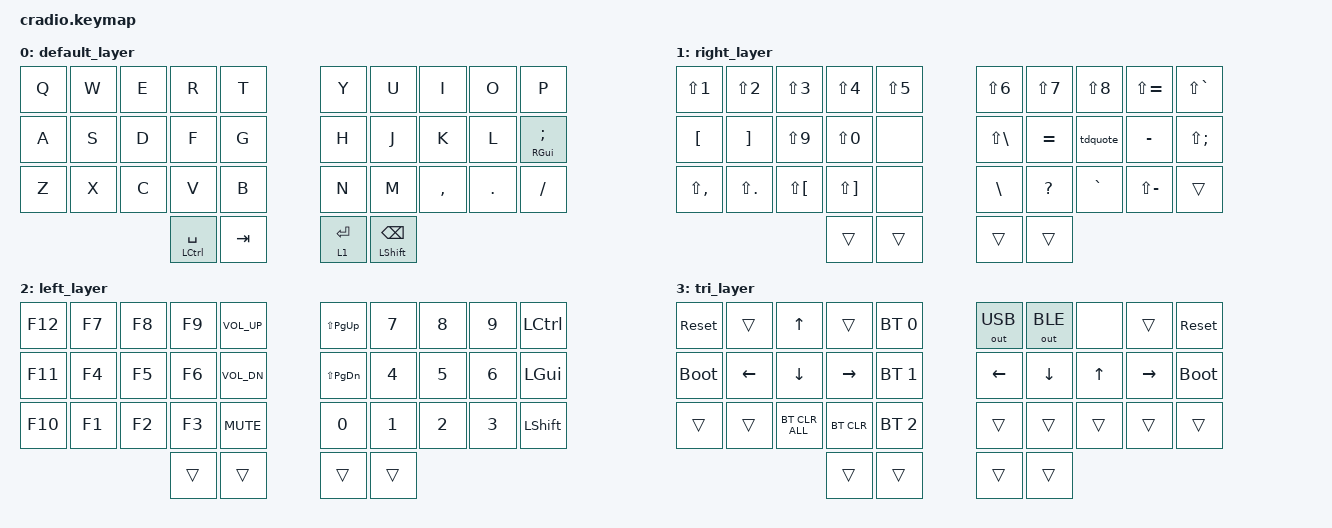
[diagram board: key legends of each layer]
// Copyright (c) 2022 The ZMK Contributors
// SPDX-License-Identifier: MIT

#include <dt-bindings/zmk/mouse.h>
#include <behaviors.dtsi>
#include <dt-bindings/zmk/bt.h>
#include <dt-bindings/zmk/keys.h>
#include <dt-bindings/zmk/outputs.h>
#include <dt-bindings/zmk/pointing.h>

// Home row mods macro

#define HRML(k1,k2,k3,k4) &ht LSHFT k1  &ht LALT k2  &ht LCTRL k3  &ht LGUI k4
#define HRMR(k1,k2,k3,k4) &ht RGUI k1  &ht RCTRL k2  &ht RALT k3  &ht RSHFT k4

&mt { quick-tap-ms = <180>; };

/ {
    behaviors {
        ht: hold_tap {
            compatible = "zmk,behavior-hold-tap";
            #binding-cells = <2>;
            flavor = "tap-preferred";
            tapping-term-ms = <220>;
            quick-tap-ms = <150>;
            require-prior-idle-ms = <100>;
            bindings = <&kp>, <&kp>;
        };

        tdtab: tdtab {
            compatible = "zmk,behavior-tap-dance";
            #binding-cells = <0>;
            tapping-term-ms = <200>;
            bindings = <&kp TAB>, <&kp ESC>;
        };

        tdquote: tdquote {
            compatible = "zmk,behavior-tap-dance";
            #binding-cells = <0>;
            tapping-term-ms = <200>;
            bindings = <&kp SINGLE_QUOTE>, <&kp DOUBLE_QUOTES>;
        };

        hrmod: hrmod {
            compatible = "zmk,behavior-hold-tap";
            #binding-cells = <2>;
            flavor = "tap-preferred";
            quick-tap-ms = <200>;
            tapping-term-ms = <200>;
            require-prior-idle-ms = <125>;
            bindings = <&kp>, <&kp>;
        };

        hrmod_l: hrmod_l {
            compatible = "zmk,behavior-hold-tap";
            #binding-cells = <2>;
            flavor = "hold-preferred";
            quick-tap-ms = <200>;
            tapping-term-ms = <200>;
            require-prior-idle-ms = <80>;
            bindings = <&mo>, <&kp>;
        };
    };

    combos {
        compatible = "zmk,combos";

        combo_numbers {
            timeout-ms = <50>;
            key-positions = <30 33>;
            bindings = <&mo 2>;
        };

        combo_alt {
            timeout-ms = <50>;
            key-positions = <31 32>;
            bindings = <&mo 3>;
        };

        delete-word {
            bindings = <&kp LC(BACKSPACE)>;
            key-positions = <25 26>;
        };

        uparrow {
            bindings = <&kp UP_ARROW>;
            key-positions = <2 3>;
        };

        downarrow {
            bindings = <&kp DOWN>;
            key-positions = <13 12>;
        };

        leftarrow {
            bindings = <&kp RIGHT>;
            key-positions = <14 13>;
        };

        rightarrow {
            bindings = <&kp LEFT>;
            key-positions = <11 12>;
        };

        entercombo {
            bindings = <&kp ENTER>;
            key-positions = <23 22>;
        };

        lmb {
            bindings = <&mkp LCLK>;
            key-positions = <16 17>;
        };

        rmb {
            bindings = <&mkp MB2>;
            key-positions = <17 18>;
        };

        escape {
            bindings = <&kp ESCAPE>;
            key-positions = <0 1>;
        };
    };

    keymap {
        compatible = "zmk,keymap";

        default_layer {
            bindings = <
&kp Q  &kp W  &kp E  &kp R               &kp T      &kp Y             &kp U                     &kp I      &kp O    &kp P
&kp A  &kp S  &kp D  &kp F               &kp G      &kp H             &kp J                     &kp K      &kp L    &hrmod RGUI SEMI
&kp Z  &kp X  &kp C  &kp V               &kp B      &kp N             &kp M                     &kp COMMA  &kp DOT  &kp FSLH
                     &hrmod LCTRL SPACE  &kp TAB    &hrmod_l 1 ENTER  &mt LEFT_SHIFT BACKSPACE
            >;
        };

        right_layer {
            bindings = <
&kp LS(N1)     &kp LS(N2)   &kp LS(N3)    &kp LS(N4)    &kp LS(N5)    &kp LS(N6)    &kp LS(N7)  &kp LS(N8)  &kp LS(EQUAL)  &kp LS(GRAVE)
&kp LBKT       &kp RBKT     &kp LS(N9)    &kp LS(N0)    &none         &kp LS(BSLH)  &kp EQUAL   &tdquote    &kp MINUS      &kp LS(SEMI)
&kp LS(COMMA)  &kp LS(DOT)  &kp LS(LBKT)  &kp LS(RBKT)  &none         &kp BSLH      &kp QMARK   &kp GRAVE   &kp LS(MINUS)  &trans
                                          &trans        &trans        &trans        &trans
            >;
        };

        left_layer {
            bindings = <
&kp F12  &kp F7  &kp F8  &kp F9  &kp C_VOL_UP    &kp LS(PG_UP)  &kp N7  &kp N8  &kp N9  &kp LCTRL
&kp F11  &kp F4  &kp F5  &kp F6  &kp C_VOL_DN    &kp LS(PG_DN)  &kp N4  &kp N5  &kp N6  &kp LEFT_GUI
&kp F10  &kp F1  &kp F2  &kp F3  &kp K_MUTE      &kp N0         &kp N1  &kp N2  &kp N3  &kp LEFT_SHIFT
                         &trans  &trans          &trans         &trans
            >;
        };

        tri_layer {
            bindings = <
&sys_reset   &trans          &kp UP_ARROW    &trans           &bt BT_SEL 0    &out OUT_USB  &out OUT_BLE  &none         &trans           &sys_reset
&bootloader  &kp LEFT_ARROW  &kp DOWN_ARROW  &kp RIGHT_ARROW  &bt BT_SEL 1    &kp LEFT      &kp DOWN      &kp UP_ARROW  &kp RIGHT_ARROW  &bootloader
&trans       &trans          &bt BT_CLR_ALL  &bt BT_CLR       &bt BT_SEL 2    &trans        &trans        &trans        &trans           &trans
                                             &trans           &trans          &trans        &trans
            >;
        };
    };
};
